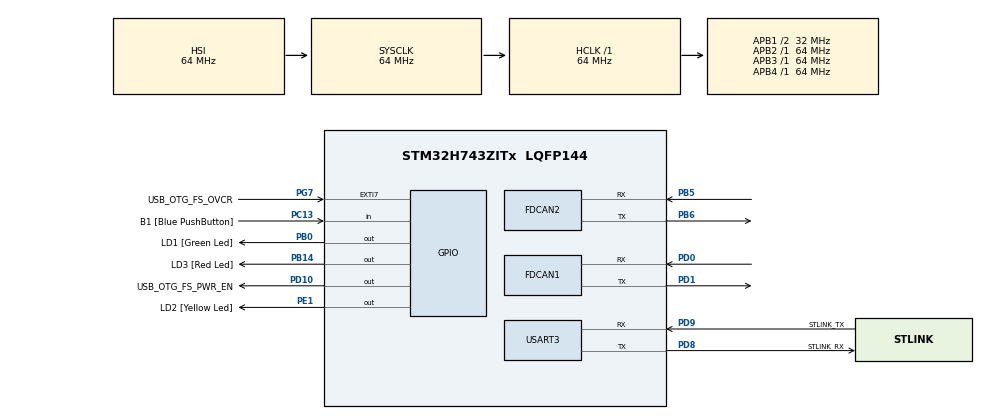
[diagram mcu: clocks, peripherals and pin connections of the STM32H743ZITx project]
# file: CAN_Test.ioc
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FDCAN1.AutoRetransmission=DISABLE
FDCAN1.CalculateBaudRateNominal=500000
FDCAN1.CalculateTimeBitNominal=2000
FDCAN1.CalculateTimeQuantumNominal=20.0
FDCAN1.DataPrescaler=25
FDCAN1.DataTimeSeg1=2
FDCAN1.FrameFormat=FDCAN_FRAME_CLASSIC
FDCAN1.Mode=FDCAN_MODE_NORMAL
FDCAN1.NominalPrescaler=1
FDCAN1.NominalSyncJumpWidth=13
FDCAN1.NominalTimeSeg1=86
FDCAN1.NominalTimeSeg2=13
FDCAN1.RxBuffersNbr=0
FDCAN1.RxFifo0ElmtSize=FDCAN_DATA_BYTES_8
FDCAN1.RxFifo0ElmtsNbr=1
FDCAN1.RxFifo1ElmtsNbr=0
FDCAN1.StdFiltersNbr=1
FDCAN1.TxElmtSize=FDCAN_DATA_BYTES_8
FDCAN1.TxFifoQueueElmtsNbr=1
FDCAN2.AutoRetransmission=DISABLE
FDCAN2.CalculateBaudRateNominal=500000
FDCAN2.CalculateTimeBitNominal=2000
FDCAN2.CalculateTimeQuantumNominal=20.0
FDCAN2.DataPrescaler=25
FDCAN2.DataTimeSeg1=2
FDCAN2.FrameFormat=FDCAN_FRAME_CLASSIC
FDCAN2.MessageRAMOffset=1280
FDCAN2.Mode=FDCAN_MODE_NORMAL
FDCAN2.NominalPrescaler=1
FDCAN2.NominalSyncJumpWidth=13
FDCAN2.NominalTimeSeg1=86
FDCAN2.NominalTimeSeg2=13
FDCAN2.RxBuffersNbr=0
FDCAN2.RxFifo1ElmtSize=FDCAN_DATA_BYTES_8
FDCAN2.RxFifo1ElmtsNbr=1
FDCAN2.TxBuffersNbr=0
FDCAN2.TxElmtSize=FDCAN_DATA_BYTES_8
FDCAN2.TxFifoQueueElmtsNbr=1
FDCAN2.TxFifoQueueMode=FDCAN_TX_FIFO_OPERATION
FREERTOS.Tasks01=CAN_Read,24,128,read_CAN,Default,NULL,Dynamic,NULL,NULL;CAN_Write,24,128,write_CAN,Default,NULL,Dynamic,NULL,NULL;StatusLED,8,128,Status_LED,Default,NULL,Dynamic,NULL,NULL
Mcu.Family=STM32H7
Mcu.Name=STM32H743ZITx
Mcu.Package=LQFP144
NVIC.FDCAN1_IT0_IRQn=true\:5\:0\:false\:false\:true\:true\:true\:true\:true
NVIC.FDCAN2_IT1_IRQn=true\:5\:0\:false\:false\:true\:true\:true\:true\:true
NVIC.PriorityGroup=NVIC_PRIORITYGROUP_4
NVIC.TIM7_IRQn=true\:15\:0\:false\:false\:true\:false\:false\:true\:true
NVIC.TimeBase=TIM7_IRQn
NVIC.TimeBaseIP=TIM7
NVIC.USART3_IRQn=true\:5\:0\:false\:false\:true\:true\:true\:true\:true
PA1.Signal=ETH_REF_CLK
PA11.Signal=USB_OTG_FS_DM
PA12.Signal=USB_OTG_FS_DP
PA2.Signal=ETH_MDIO
PA7.Signal=ETH_CRS_DV
PA8.Signal=USB_OTG_FS_SOF
PA9.Signal=USB_OTG_FS_VBUS
PB0.GPIO_Label=LD1 [Green Led]
PB0.Signal=GPIO_Output
PB13.Signal=ETH_TXD1
PB14.GPIO_Label=LD3 [Red Led]
PB14.Signal=GPIO_Output
PB5.Mode=FDCAN_Activate
PB5.Signal=FDCAN2_RX
PB6.Mode=FDCAN_Activate
PB6.Signal=FDCAN2_TX
PC1.Signal=ETH_MDC
PC13.GPIO_Label=B1 [Blue PushButton]
PC13.Signal=GPIO_Input
PC14-OSC32_IN\ (OSC32_IN).Mode=LSE-External-Oscillator
PC14-OSC32_IN\ (OSC32_IN).Signal=RCC_OSC32_IN
PC15-OSC32_OUT\ (OSC32_OUT).Mode=LSE-External-Oscillator
PC15-OSC32_OUT\ (OSC32_OUT).Signal=RCC_OSC32_OUT
PC4.Signal=ETH_RXD0
PC5.Signal=ETH_RXD1
PD0.Mode=FDCAN_Activate
PD0.Signal=FDCAN1_RX
PD1.Mode=FDCAN_Activate
PD1.Signal=FDCAN1_TX
PD10.GPIO_Label=USB_OTG_FS_PWR_EN
PD10.Signal=GPIO_Output
PD8.GPIO_Label=STLINK_RX
PD8.Mode=Asynchronous
PD8.Signal=USART3_TX
PD9.GPIO_Label=STLINK_TX
PD9.Mode=Asynchronous
PD9.Signal=USART3_RX
PE1.GPIO_Label=LD2 [Yellow Led]
PE1.Signal=GPIO_Output
PG11.Signal=ETH_TX_EN
PG13.Signal=ETH_TXD0
PG7.GPIO_Label=USB_OTG_FS_OVCR
PG7.Signal=GPXTI7
PH0-OSC_IN\ (PH0).Mode=HSE-External-Clock-Source
PH0-OSC_IN\ (PH0).Signal=RCC_OSC_IN
PH1-OSC_OUT\ (PH1).Signal=RCC_OSC_OUT
ProjectManager.HeapSize=0x200
ProjectManager.StackSize=0x400
ProjectManager.TargetToolchain=STM32CubeIDE
RCC.ADCFreq_Value=16125000
RCC.APB1Freq_Value=32000000
RCC.APB2Freq_Value=64000000
RCC.APB3Freq_Value=64000000
RCC.APB4Freq_Value=64000000
RCC.CortexFreq_Value=64000000
RCC.D2PPRE1=RCC_APB1_DIV2
RCC.DIVM1=1
RCC.DIVN1=18
RCC.DIVQ1=3
RCC.HCLKFreq_Value=64000000
RCC.HSE_VALUE=8000000
RCC.PLL2FRACN=0
RCC.PLL3FRACN=0
RCC.PLLFRACN=6144
RCC.PLLSourceVirtual=RCC_PLLSOURCE_HSE
RCC.SYSCLKFreq_VALUE=64000000
RCC.USBFreq_Value=50000000
USART3.VirtualMode-Asynchronous=VM_ASYNC
VP_FREERTOS_VS_CMSIS_V2.Mode=CMSIS_V2
VP_SYS_VS_tim7.Mode=TIM7
board=NUCLEO-H743ZI2

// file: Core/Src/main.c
/* USER CODE BEGIN Header */
/* USER CODE END Header */
#include "main.h"
#include "cmsis_os.h"

/* USER CODE BEGIN Includes */

#include "stdio.h"
#include "can.h"

/* USER CODE END Includes */

FDCAN_HandleTypeDef hfdcan1;
FDCAN_HandleTypeDef hfdcan2;

UART_HandleTypeDef huart3;

/* Definitions for CAN_Read */
osThreadId_t CAN_ReadHandle;
const osThreadAttr_t CAN_Read_attributes = {
  .name = "CAN_Read",
  .stack_size = 128 * 4,
  .priority = (osPriority_t) osPriorityNormal,
};
/* Definitions for CAN_Write */
osThreadId_t CAN_WriteHandle;
const osThreadAttr_t CAN_Write_attributes = {
  .name = "CAN_Write",
  .stack_size = 128 * 4,
  .priority = (osPriority_t) osPriorityNormal,
};
/* Definitions for StatusLED */
osThreadId_t StatusLEDHandle;
const osThreadAttr_t StatusLED_attributes = {
  .name = "StatusLED",
  .stack_size = 128 * 4,
  .priority = (osPriority_t) osPriorityLow,
};
/* USER CODE BEGIN PV */
FDCAN_TxHeaderTypeDef TxHeader1;
FDCAN_RxHeaderTypeDef RxHeader1;

uint8_t TxData1[8];
uint8_t RxData1[8];

FDCAN_TxHeaderTypeDef TxHeader2;
FDCAN_RxHeaderTypeDef RxHeader2;

uint8_t TxData2[8];
uint8_t RxData2[8];

int indx = 0;

/* USER CODE END PV */

void SystemClock_Config(void);
static void MX_GPIO_Init(void);
static void MX_USART3_UART_Init(void);
static void MX_FDCAN1_Init(void);
static void MX_FDCAN2_Init(void);
void read_CAN(void *argument);
void write_CAN(void *argument);
void Status_LED(void *argument);

int main(void)
{

  /* MCU Configuration--------------------------------------------------------*/

  /* Reset of all peripherals, Initializes the Flash interface and the Systick. */
  HAL_Init();

  /* Configure the system clock */
  SystemClock_Config();

  /* Initialize all configured peripherals */
  MX_GPIO_Init();
  MX_USART3_UART_Init();
  MX_FDCAN1_Init();
  MX_FDCAN2_Init();
  /* USER CODE BEGIN 2 */

  	FDCAN1->CCCR = FDCAN_CCCR_TXP; // Sets TXP bit to 1
  	FDCAN1->NBTP = (15UL << FDCAN_NBTP_NTSEG1_Pos); // UL marked as Unsigned Long
  	FDCAN1->CCCR = FDCAN_CCCR_NISO; // Sets NISO bit to 1

  	/* Config order
  	 * Clocks
  	 * Bit timing
  	 * Global receive -- try with everything first
  	 * CCCR register --> enable FDCAN
  	 */

  /* USER CODE END 2 */

  /* Init scheduler */
  osKernelInitialize();

  /* Create the thread(s) */
  /* creation of CAN_Read */
  CAN_ReadHandle = osThreadNew(read_CAN, NULL, &CAN_Read_attributes);

  /* creation of CAN_Write */
  CAN_WriteHandle = osThreadNew(write_CAN, NULL, &CAN_Write_attributes);

  /* creation of StatusLED */
  StatusLEDHandle = osThreadNew(Status_LED, NULL, &StatusLED_attributes);

  /* Start scheduler */
  osKernelStart();

  /* We should never get here as control is now taken by the scheduler */
  /* Infinite loop */
  while (1) {}

}

void SystemClock_Config(void)
{
  RCC_OscInitTypeDef RCC_OscInitStruct = {0};
  RCC_ClkInitTypeDef RCC_ClkInitStruct = {0};

  /** Supply configuration update enable
  */
  HAL_PWREx_ConfigSupply(PWR_LDO_SUPPLY);

  /** Configure the main internal regulator output voltage
  */
  __HAL_PWR_VOLTAGESCALING_CONFIG(PWR_REGULATOR_VOLTAGE_SCALE3);

  while(!__HAL_PWR_GET_FLAG(PWR_FLAG_VOSRDY)) {}

  /** Initializes the RCC Oscillators according to the specified parameters
  * in the RCC_OscInitTypeDef structure.
  */
  RCC_OscInitStruct.OscillatorType = RCC_OSCILLATORTYPE_HSI|RCC_OSCILLATORTYPE_HSE;
  RCC_OscInitStruct.HSEState = RCC_HSE_BYPASS;
  RCC_OscInitStruct.HSIState = RCC_HSI_DIV1;
  RCC_OscInitStruct.HSICalibrationValue = RCC_HSICALIBRATION_DEFAULT;
  RCC_OscInitStruct.PLL.PLLState = RCC_PLL_ON;
  RCC_OscInitStruct.PLL.PLLSource = RCC_PLLSOURCE_HSE;
  RCC_OscInitStruct.PLL.PLLM = 1;
  RCC_OscInitStruct.PLL.PLLN = 18;
  RCC_OscInitStruct.PLL.PLLP = 2;
  RCC_OscInitStruct.PLL.PLLQ = 3;
  RCC_OscInitStruct.PLL.PLLR = 2;
  RCC_OscInitStruct.PLL.PLLRGE = RCC_PLL1VCIRANGE_3;
  RCC_OscInitStruct.PLL.PLLVCOSEL = RCC_PLL1VCOMEDIUM;
  RCC_OscInitStruct.PLL.PLLFRACN = 6144;
  if (HAL_RCC_OscConfig(&RCC_OscInitStruct) != HAL_OK)
  {
    Error_Handler();
  }

  /** Initializes the CPU, AHB and APB buses clocks
  */
  RCC_ClkInitStruct.ClockType = RCC_CLOCKTYPE_HCLK|RCC_CLOCKTYPE_SYSCLK
                              |RCC_CLOCKTYPE_PCLK1|RCC_CLOCKTYPE_PCLK2
                              |RCC_CLOCKTYPE_D3PCLK1|RCC_CLOCKTYPE_D1PCLK1;
  RCC_ClkInitStruct.SYSCLKSource = RCC_SYSCLKSOURCE_HSI;
  RCC_ClkInitStruct.SYSCLKDivider = RCC_SYSCLK_DIV1;
  RCC_ClkInitStruct.AHBCLKDivider = RCC_HCLK_DIV1;
  RCC_ClkInitStruct.APB3CLKDivider = RCC_APB3_DIV1;
  RCC_ClkInitStruct.APB1CLKDivider = RCC_APB1_DIV2;
  RCC_ClkInitStruct.APB2CLKDivider = RCC_APB2_DIV1;
  RCC_ClkInitStruct.APB4CLKDivider = RCC_APB4_DIV1;

  if (HAL_RCC_ClockConfig(&RCC_ClkInitStruct, FLASH_LATENCY_1) != HAL_OK)
  {
    Error_Handler();
  }
}

static void MX_FDCAN1_Init(void)
{

  hfdcan1.Instance = FDCAN1;
  hfdcan1.Init.FrameFormat = FDCAN_FRAME_CLASSIC;
  hfdcan1.Init.Mode = FDCAN_MODE_NORMAL;
  hfdcan1.Init.AutoRetransmission = DISABLE;
  hfdcan1.Init.TransmitPause = DISABLE;
  hfdcan1.Init.ProtocolException = DISABLE;
  hfdcan1.Init.NominalPrescaler = 1;
  hfdcan1.Init.NominalSyncJumpWidth = 13;
  hfdcan1.Init.NominalTimeSeg1 = 86;
  hfdcan1.Init.NominalTimeSeg2 = 13;
  hfdcan1.Init.DataPrescaler = 25;
  hfdcan1.Init.DataSyncJumpWidth = 1;
  hfdcan1.Init.DataTimeSeg1 = 2;
  hfdcan1.Init.DataTimeSeg2 = 1;
  hfdcan1.Init.MessageRAMOffset = 0;
  hfdcan1.Init.StdFiltersNbr = 1;
  hfdcan1.Init.ExtFiltersNbr = 0;
  hfdcan1.Init.RxFifo0ElmtsNbr = 1;
  hfdcan1.Init.RxFifo0ElmtSize = FDCAN_DATA_BYTES_8;
  hfdcan1.Init.RxFifo1ElmtsNbr = 0;
  hfdcan1.Init.RxFifo1ElmtSize = FDCAN_DATA_BYTES_8;
  hfdcan1.Init.RxBuffersNbr = 0;
  hfdcan1.Init.RxBufferSize = FDCAN_DATA_BYTES_8;
  hfdcan1.Init.TxEventsNbr = 0;
  hfdcan1.Init.TxBuffersNbr = 0;
  hfdcan1.Init.TxFifoQueueElmtsNbr = 1;
  hfdcan1.Init.TxFifoQueueMode = FDCAN_TX_FIFO_OPERATION;
  hfdcan1.Init.TxElmtSize = FDCAN_DATA_BYTES_8;
  if (HAL_FDCAN_Init(&hfdcan1) != HAL_OK)
  {
    Error_Handler();
  }
  /* USER CODE BEGIN FDCAN1_Init 2 */

  FDCAN_FilterTypeDef sFilterConfig;

  sFilterConfig.IdType = FDCAN_STANDARD_ID;
  sFilterConfig.FilterIndex = 0;
  sFilterConfig.FilterType = FDCAN_FILTER_MASK;
  sFilterConfig.FilterConfig = FDCAN_FILTER_TO_RXFIFO0; // Send the data to FIFO 0
  sFilterConfig.FilterID1 = 0x29;
  sFilterConfig.FilterID2 = 0x28;
  sFilterConfig.RxBufferIndex = 0;
  if (HAL_FDCAN_ConfigFilter(&hfdcan1, &sFilterConfig) != HAL_OK) {
  	Error_Handler();
  }

  /* USER CODE END FDCAN1_Init 2 */

}

static void MX_FDCAN2_Init(void)
{

  hfdcan2.Instance = FDCAN2;
  hfdcan2.Init.FrameFormat = FDCAN_FRAME_CLASSIC;
  hfdcan2.Init.Mode = FDCAN_MODE_NORMAL;
  hfdcan2.Init.AutoRetransmission = DISABLE;
  hfdcan2.Init.TransmitPause = DISABLE;
  hfdcan2.Init.ProtocolException = DISABLE;
  hfdcan2.Init.NominalPrescaler = 1;
  hfdcan2.Init.NominalSyncJumpWidth = 13;
  hfdcan2.Init.NominalTimeSeg1 = 86;
  hfdcan2.Init.NominalTimeSeg2 = 13;
  hfdcan2.Init.DataPrescaler = 25;
  hfdcan2.Init.DataSyncJumpWidth = 1;
  hfdcan2.Init.DataTimeSeg1 = 2;
  hfdcan2.Init.DataTimeSeg2 = 1;
  hfdcan2.Init.MessageRAMOffset = 1280;
  hfdcan2.Init.StdFiltersNbr = 0;
  hfdcan2.Init.ExtFiltersNbr = 0;
  hfdcan2.Init.RxFifo0ElmtsNbr = 0;
  hfdcan2.Init.RxFifo0ElmtSize = FDCAN_DATA_BYTES_8;
  hfdcan2.Init.RxFifo1ElmtsNbr = 1;
  hfdcan2.Init.RxFifo1ElmtSize = FDCAN_DATA_BYTES_8;
  hfdcan2.Init.RxBuffersNbr = 0;
  hfdcan2.Init.RxBufferSize = FDCAN_DATA_BYTES_8;
  hfdcan2.Init.TxEventsNbr = 0;
  hfdcan2.Init.TxBuffersNbr = 0;
  hfdcan2.Init.TxFifoQueueElmtsNbr = 1;
  hfdcan2.Init.TxFifoQueueMode = FDCAN_TX_FIFO_OPERATION;
  hfdcan2.Init.TxElmtSize = FDCAN_DATA_BYTES_8;
  if (HAL_FDCAN_Init(&hfdcan2) != HAL_OK)
  {
    Error_Handler();
  }

}

static void MX_USART3_UART_Init(void)
{

  huart3.Instance = USART3;
  huart3.Init.BaudRate = 115200;
  huart3.Init.WordLength = UART_WORDLENGTH_8B;
  huart3.Init.StopBits = UART_STOPBITS_1;
  huart3.Init.Parity = UART_PARITY_NONE;
  huart3.Init.Mode = UART_MODE_TX_RX;
  huart3.Init.HwFlowCtl = UART_HWCONTROL_NONE;
  huart3.Init.OverSampling = UART_OVERSAMPLING_16;
  huart3.Init.OneBitSampling = UART_ONE_BIT_SAMPLE_DISABLE;
  huart3.Init.ClockPrescaler = UART_PRESCALER_DIV1;
  huart3.AdvancedInit.AdvFeatureInit = UART_ADVFEATURE_NO_INIT;
  if (HAL_UART_Init(&huart3) != HAL_OK)
  {
    Error_Handler();
  }
  if (HAL_UARTEx_SetTxFifoThreshold(&huart3, UART_TXFIFO_THRESHOLD_1_8) != HAL_OK)
  {
    Error_Handler();
  }
  if (HAL_UARTEx_SetRxFifoThreshold(&huart3, UART_RXFIFO_THRESHOLD_1_8) != HAL_OK)
  {
    Error_Handler();
  }
  if (HAL_UARTEx_DisableFifoMode(&huart3) != HAL_OK)
  {
    Error_Handler();
  }

}

static void MX_GPIO_Init(void)
{
  GPIO_InitTypeDef GPIO_InitStruct = {0};

  /* GPIO Ports Clock Enable */
  __HAL_RCC_GPIOC_CLK_ENABLE();
  __HAL_RCC_GPIOH_CLK_ENABLE();
  __HAL_RCC_GPIOA_CLK_ENABLE();
  __HAL_RCC_GPIOB_CLK_ENABLE();
  __HAL_RCC_GPIOD_CLK_ENABLE();
  __HAL_RCC_GPIOG_CLK_ENABLE();
  __HAL_RCC_GPIOE_CLK_ENABLE();

  /*Configure GPIO pin Output Level */
  HAL_GPIO_WritePin(GPIOB, LD1_Pin|LD3_Pin, GPIO_PIN_RESET);

  /*Configure GPIO pin Output Level */
  HAL_GPIO_WritePin(USB_OTG_FS_PWR_EN_GPIO_Port, USB_OTG_FS_PWR_EN_Pin, GPIO_PIN_RESET);

  /*Configure GPIO pin Output Level */
  HAL_GPIO_WritePin(LD2_GPIO_Port, LD2_Pin, GPIO_PIN_RESET);

  /*Configure GPIO pin : B1_Pin */
  GPIO_InitStruct.Pin = B1_Pin;
  GPIO_InitStruct.Mode = GPIO_MODE_INPUT;
  GPIO_InitStruct.Pull = GPIO_NOPULL;
  HAL_GPIO_Init(B1_GPIO_Port, &GPIO_InitStruct);

  /*Configure GPIO pins : PC1 PC4 PC5 */
  GPIO_InitStruct.Pin = GPIO_PIN_1|GPIO_PIN_4|GPIO_PIN_5;
  GPIO_InitStruct.Mode = GPIO_MODE_AF_PP;
  GPIO_InitStruct.Pull = GPIO_NOPULL;
  GPIO_InitStruct.Speed = GPIO_SPEED_FREQ_LOW;
  GPIO_InitStruct.Alternate = GPIO_AF11_ETH;
  HAL_GPIO_Init(GPIOC, &GPIO_InitStruct);

  /*Configure GPIO pins : PA1 PA2 PA7 */
  GPIO_InitStruct.Pin = GPIO_PIN_1|GPIO_PIN_2|GPIO_PIN_7;
  GPIO_InitStruct.Mode = GPIO_MODE_AF_PP;
  GPIO_InitStruct.Pull = GPIO_NOPULL;
  GPIO_InitStruct.Speed = GPIO_SPEED_FREQ_LOW;
  GPIO_InitStruct.Alternate = GPIO_AF11_ETH;
  HAL_GPIO_Init(GPIOA, &GPIO_InitStruct);

  /*Configure GPIO pins : LD1_Pin LD3_Pin */
  GPIO_InitStruct.Pin = LD1_Pin|LD3_Pin;
  GPIO_InitStruct.Mode = GPIO_MODE_OUTPUT_PP;
  GPIO_InitStruct.Pull = GPIO_NOPULL;
  GPIO_InitStruct.Speed = GPIO_SPEED_FREQ_LOW;
  HAL_GPIO_Init(GPIOB, &GPIO_InitStruct);

  /*Configure GPIO pin : PB13 */
  GPIO_InitStruct.Pin = GPIO_PIN_13;
  GPIO_InitStruct.Mode = GPIO_MODE_AF_PP;
  GPIO_InitStruct.Pull = GPIO_NOPULL;
  GPIO_InitStruct.Speed = GPIO_SPEED_FREQ_LOW;
  GPIO_InitStruct.Alternate = GPIO_AF11_ETH;
  HAL_GPIO_Init(GPIOB, &GPIO_InitStruct);

  /*Configure GPIO pin : USB_OTG_FS_PWR_EN_Pin */
  GPIO_InitStruct.Pin = USB_OTG_FS_PWR_EN_Pin;
  GPIO_InitStruct.Mode = GPIO_MODE_OUTPUT_PP;
  GPIO_InitStruct.Pull = GPIO_NOPULL;
  GPIO_InitStruct.Speed = GPIO_SPEED_FREQ_LOW;
  HAL_GPIO_Init(USB_OTG_FS_PWR_EN_GPIO_Port, &GPIO_InitStruct);

  /*Configure GPIO pin : USB_OTG_FS_OVCR_Pin */
  GPIO_InitStruct.Pin = USB_OTG_FS_OVCR_Pin;
  GPIO_InitStruct.Mode = GPIO_MODE_IT_RISING;
  GPIO_InitStruct.Pull = GPIO_NOPULL;
  HAL_GPIO_Init(USB_OTG_FS_OVCR_GPIO_Port, &GPIO_InitStruct);

  /*Configure GPIO pins : PA8 PA11 PA12 */
  GPIO_InitStruct.Pin = GPIO_PIN_8|GPIO_PIN_11|GPIO_PIN_12;
  GPIO_InitStruct.Mode = GPIO_MODE_AF_PP;
  GPIO_InitStruct.Pull = GPIO_NOPULL;
  GPIO_InitStruct.Speed = GPIO_SPEED_FREQ_LOW;
  GPIO_InitStruct.Alternate = GPIO_AF10_OTG1_FS;
  HAL_GPIO_Init(GPIOA, &GPIO_InitStruct);

  /*Configure GPIO pins : PG11 PG13 */
  GPIO_InitStruct.Pin = GPIO_PIN_11|GPIO_PIN_13;
  GPIO_InitStruct.Mode = GPIO_MODE_AF_PP;
  GPIO_InitStruct.Pull = GPIO_NOPULL;
  GPIO_InitStruct.Speed = GPIO_SPEED_FREQ_LOW;
  GPIO_InitStruct.Alternate = GPIO_AF11_ETH;
  HAL_GPIO_Init(GPIOG, &GPIO_InitStruct);

  /*Configure GPIO pin : LD2_Pin */
  GPIO_InitStruct.Pin = LD2_Pin;
  GPIO_InitStruct.Mode = GPIO_MODE_OUTPUT_PP;
  GPIO_InitStruct.Pull = GPIO_NOPULL;
  GPIO_InitStruct.Speed = GPIO_SPEED_FREQ_LOW;
  HAL_GPIO_Init(LD2_GPIO_Port, &GPIO_InitStruct);

}

void read_CAN(void *argument)
{
  /* USER CODE BEGIN 5 */
  /* Infinite loop */
  for(;;) {
	  HAL_GPIO_TogglePin(GPIOB, GPIO_PIN_0);
	  osDelay(400);
  }
  osThreadTerminate(NULL);
  /* USER CODE END 5 */
}

void write_CAN(void *argument)
{
  for(;;)
  {
    osDelay(1);
  }
}

void Status_LED(void *argument)
{
  /* USER CODE BEGIN Status_LED */
  /* Infinite loop */
	for(;;) {
		HAL_GPIO_TogglePin(GPIOE, GPIO_PIN_1);
		osDelay(500);
	}
	osThreadTerminate(NULL);
  /* USER CODE END Status_LED */
}

void HAL_TIM_PeriodElapsedCallback(TIM_HandleTypeDef *htim)
{
  if (htim->Instance == TIM7) {
    HAL_IncTick();
  }
}

void Error_Handler(void)
{
}
